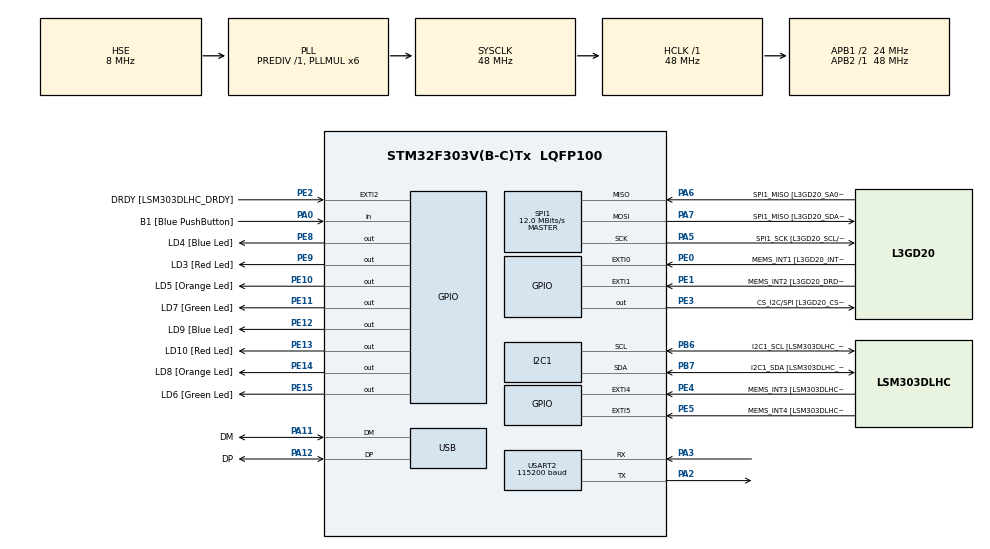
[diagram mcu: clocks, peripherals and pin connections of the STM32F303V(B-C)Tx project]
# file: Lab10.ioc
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I2C1.Timing=0x2000090E
I2C1.Timing-I2C=0x2000090E
Mcu.Family=STM32F3
Mcu.Name=STM32F303V(B-C)Tx
Mcu.Package=LQFP100
NVIC.PriorityGroup=NVIC_PRIORITYGROUP_0
NVIC.USART2_IRQn=true\:0\:0\:false\:false\:true\:true\:true\:true
PA0.GPIO_Label=B1 [Blue PushButton]
PA0.Signal=GPIO_Input
PA11.GPIO_Label=DM
PA11.Mode=Device
PA11.Signal=USB_DM
PA12.GPIO_Label=DP
PA12.Mode=Device
PA12.Signal=USB_DP
PA13.GPIO_Label=SWDIO
PA13.Mode=Serial_Wire
PA13.Signal=SYS_JTMS-SWDIO
PA14.GPIO_Label=SWCLK
PA14.Mode=Serial_Wire
PA14.Signal=SYS_JTCK-SWCLK
PA2.Mode=Asynchronous
PA2.Signal=USART2_TX
PA3.Mode=Asynchronous
PA3.Signal=USART2_RX
PA5.GPIO_Label=SPI1_SCK [L3GD20_SCL/SPC]
PA5.Mode=Full_Duplex_Master
PA5.Signal=SPI1_SCK
PA6.GPIO_Label=SPI1_MISO [L3GD20_SA0/SDO]
PA6.Mode=Full_Duplex_Master
PA6.Signal=SPI1_MISO
PA7.GPIO_Label=SPI1_MISO [L3GD20_SDA/SDI/SDO]
PA7.Mode=Full_Duplex_Master
PA7.Signal=SPI1_MOSI
PB3.GPIO_Label=SWO
PB3.Signal=SYS_JTDO-TRACESWO
PB6.GPIO_Label=I2C1_SCL [LSM303DLHC_SCL]
PB6.GPIO_Pu=GPIO_PULLUP
PB6.Mode=I2C
PB6.Signal=I2C1_SCL
PB7.GPIO_Label=I2C1_SDA [LSM303DLHC_SDA]
PB7.GPIO_Pu=GPIO_PULLUP
PB7.Mode=I2C
PB7.Signal=I2C1_SDA
PC14-OSC32_IN.GPIO_Label=OSC32_IN
PC14-OSC32_IN.Signal=RCC_OSC32_IN
PC15-OSC32_OUT.GPIO_Label=OSC32_OUT
PC15-OSC32_OUT.Signal=RCC_OSC32_OUT
PE0.GPIO_Label=MEMS_INT1 [L3GD20_INT1]
PE0.GPIO_ModeDefaultEXTI=GPIO_MODE_EVT_RISING
PE0.Signal=GPXTI0
PE1.GPIO_Label=MEMS_INT2 [L3GD20_DRDY/INT2]
PE1.GPIO_ModeDefaultEXTI=GPIO_MODE_EVT_RISING
PE1.Signal=GPXTI1
PE10.GPIO_Label=LD5 [Orange Led]
PE10.Signal=GPIO_Output
PE11.GPIO_Label=LD7 [Green Led]
PE11.Signal=GPIO_Output
PE12.GPIO_Label=LD9 [Blue Led]
PE12.Signal=GPIO_Output
PE13.GPIO_Label=LD10 [Red Led]
PE13.Signal=GPIO_Output
PE14.GPIO_Label=LD8 [Orange Led]
PE14.Signal=GPIO_Output
PE15.GPIO_Label=LD6 [Green Led]
PE15.Signal=GPIO_Output
PE2.GPIO_Label=DRDY [LSM303DLHC_DRDY]
PE2.GPIO_ModeDefaultEXTI=GPIO_MODE_EVT_RISING
PE2.Signal=GPXTI2
PE3.GPIO_Label=CS_I2C/SPI [L3GD20_CS_I2C/SPI]
PE3.Signal=GPIO_Output
PE4.GPIO_Label=MEMS_INT3 [LSM303DLHC_INT1]
PE4.GPIO_ModeDefaultEXTI=GPIO_MODE_EVT_RISING
PE4.Signal=GPXTI4
PE5.GPIO_Label=MEMS_INT4 [LSM303DLHC_INT2]
PE5.GPIO_ModeDefaultEXTI=GPIO_MODE_EVT_RISING
PE5.Signal=GPXTI5
PE8.GPIO_Label=LD4 [Blue Led]
PE8.Signal=GPIO_Output
PE9.GPIO_Label=LD3 [Red Led]
PE9.Signal=GPIO_Output
PF0-OSC_IN.GPIO_Label=OSC_IN
PF0-OSC_IN.Mode=HSE-External-Clock-Source
PF0-OSC_IN.Signal=RCC_OSC_IN
PF1-OSC_OUT.GPIO_Label=OSC_OUT
PF1-OSC_OUT.Signal=RCC_OSC_OUT
ProjectManager.HeapSize=0x200
ProjectManager.StackSize=0x400
ProjectManager.TargetToolchain=CMake
RCC.AHBFreq_Value=48000000
RCC.APB1CLKDivider=RCC_HCLK_DIV2
RCC.APB1Freq_Value=24000000
RCC.APB1TimFreq_Value=48000000
RCC.APB2Freq_Value=48000000
RCC.APB2TimFreq_Value=48000000
RCC.CortexFreq_Value=48000000
RCC.HCLKFreq_Value=48000000
RCC.HSE_VALUE=8000000
RCC.HSI_VALUE=8000000
RCC.LSE_VALUE=32768
RCC.PLLMUL=RCC_PLL_MUL6
RCC.SYSCLKFreq_VALUE=48000000
RCC.SYSCLKSourceVirtual=RCC_SYSCLKSOURCE_PLLCLK
RCC.USBFreq_Value=48000000
SPI1.BaudRatePrescaler=SPI_BAUDRATEPRESCALER_4
SPI1.BaudRatePrescaler-Full_Duplex_Master=SPI_BAUDRATEPRESCALER_2
SPI1.CalculateBaudRate=12.0 MBits/s
SPI1.CalculateBaudRate-Full_Duplex_Master=24.0 MBits/s
SPI1.Direction=SPI_DIRECTION_2LINES
SPI1.Mode=SPI_MODE_MASTER
SPI1.Mode-Full_Duplex_Master=SPI_MODE_MASTER
SPI1.VirtualType=VM_MASTER
USART2.BaudRate=115200
USART2.VirtualMode-Asynchronous=VM_ASYNC
board=STM32F3DISCOVERY

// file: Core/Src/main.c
/* USER CODE BEGIN Header */
/**
  ******************************************************************************
  * @file           : main.c
  * @brief          : Lab 10 Task 1 — Dynamic Memory Allocation
  *                   Demonstrates malloc(), calloc(), and free() on STM32F3.
  *                   Results transmitted over USART2 at 115200 baud.
  ******************************************************************************
  */
/* USER CODE END Header */

#include "main.h"

/* USER CODE BEGIN Includes */
#include <stdio.h>
#include <string.h>
#include <stdlib.h>   /* malloc, calloc, free */
/* USER CODE END Includes */

/* USER CODE BEGIN PD */
#define N  10         /* Number of integer elements to allocate */
/* USER CODE END PD */

I2C_HandleTypeDef  hi2c1;
SPI_HandleTypeDef  hspi1;
UART_HandleTypeDef huart2;
PCD_HandleTypeDef  hpcd_USB_FS;

/* USER CODE BEGIN PV */
static char uart_buf[128];
/* USER CODE END PV */

void SystemClock_Config(void);
static void MX_GPIO_Init(void);
static void MX_I2C1_Init(void);
static void MX_SPI1_Init(void);
static void MX_USART2_UART_Init(void);
static void MX_USB_PCD_Init(void);

/* USER CODE BEGIN PFP */
/* Helper: send a string over UART */
static void uart_print(const char *s)
{
    HAL_UART_Transmit(&huart2, (uint8_t *)s, (uint16_t)strlen(s), HAL_MAX_DELAY);
}
/* USER CODE END PFP */

int main(void)
{

    HAL_Init();
    SystemClock_Config();

    MX_GPIO_Init();
    MX_I2C1_Init();
    MX_SPI1_Init();
    MX_USART2_UART_Init();
    MX_USB_PCD_Init();

    /* USER CODE BEGIN 2 */

    HAL_Delay(100);   /* Let UART settle */

    uart_print("=== Lab 10 Task 1: Dynamic Memory Allocation ===\r\n\r\n");

    /* ════════════════════════════════════════════════════════════════════════
     * STEP 1 — malloc()
     *   Allocate an array of N ints. Memory is UNINITIALIZED (garbage values).
     *   I═══════nitialize each element to i * 2.
     * ═════════════════════════════════════════════════════════════════ */
    uart_print("--- malloc() ---\r\n");

    int *arr_malloc = (int *)malloc(N * sizeof(int));

    if (arr_malloc == NULL)
    {
        uart_print("ERROR: malloc() failed — not enough heap space!\r\n");
    }
    else
    {
        uart_print("malloc() succeeded.\r\n");

        /* Initialize: element i = i * 2 */
        for (int i = 0; i < N; i++)
        {
            arr_malloc[i] = i * 2;
        }

        /* Print contents */
        uart_print("malloc array (i*2): ");
        for (int i = 0; i < N; i++)
        {
            int len = snprintf(uart_buf, sizeof(uart_buf),
                               "%d%s", arr_malloc[i], (i < N - 1) ? ", " : "\r\n");
            HAL_UART_Transmit(&huart2, (uint8_t *)uart_buf, (uint16_t)len, HAL_MAX_DELAY);
        }
    }

    /* ════════════════════════════════════════════════════════════════════════
     * STEP 2 — calloc()
     *   Allocate an array of N ints. Memory IS zero-initialized by calloc().
     *   Confirm all elements are zero, then assign i + 1 to each.
     * ════════════════════════════════════════════════════════════════════════ */
    uart_print("\r\n--- calloc() ---\r\n");

    int *arr_calloc = (int *)calloc(N, sizeof(int));

    if (arr_calloc == NULL)
    {
        uart_print("ERROR: calloc() failed — not enough heap space!\r\n");
    }
    else
    {
        uart_print("calloc() succeeded.\r\n");

        /* Confirm all elements are zero before assignment */
        uart_print("calloc array before init (should all be 0): ");
        for (int i = 0; i < N; i++)
        {
            int len = snprintf(uart_buf, sizeof(uart_buf),
                               "%d%s", arr_calloc[i], (i < N - 1) ? ", " : "\r\n");
            HAL_UART_Transmit(&huart2, (uint8_t *)uart_buf, (uint16_t)len, HAL_MAX_DELAY);
        }

        /* Assign: element i = i + 1 */
        for (int i = 0; i < N; i++)
        {
            arr_calloc[i] = i + 1;
        }

        /* Print contents after assignment */
        uart_print("calloc array after init (i+1): ");
        for (int i = 0; i < N; i++)
        {
            int len = snprintf(uart_buf, sizeof(uart_buf),
                               "%d%s", arr_calloc[i], (i < N - 1) ? ", " : "\r\n");
            HAL_UART_Transmit(&huart2, (uint8_t *)uart_buf, (uint16_t)len, HAL_MAX_DELAY);
        }
    }

    /* ════════════════════════════════════════════════════════════════════════
     * STEP 3 — free() both arrays
     *   Release heap memory and set pointers to NULL to prevent dangling refs.
     * ════════════════════════════════════════════════════════════════════════ */
    uart_print("\r\n--- free() ---\r\n");

    free(arr_malloc);
    arr_malloc = NULL;
    uart_print("arr_malloc freed and set to NULL.\r\n");

    free(arr_calloc);
    arr_calloc = NULL;
    uart_print("arr_calloc freed and set to NULL.\r\n");

    uart_print("\r\nMemory successfully freed. Pointers cleared.\r\n");
    uart_print("=== Task 1 Complete ===\r\n");

    /* USER CODE END 2 */

    /* USER CODE BEGIN WHILE */
    while (1)
    {
        /* Task 1 complete — nothing to do in the loop */
        /* USER CODE END WHILE */
    }
}

void SystemClock_Config(void)
{
    RCC_OscInitTypeDef       RCC_OscInitStruct = {0};
    RCC_ClkInitTypeDef       RCC_ClkInitStruct = {0};
    RCC_PeriphCLKInitTypeDef PeriphClkInit     = {0};

    RCC_OscInitStruct.OscillatorType      = RCC_OSCILLATORTYPE_HSI | RCC_OSCILLATORTYPE_HSE;
    RCC_OscInitStruct.HSEState            = RCC_HSE_BYPASS;
    RCC_OscInitStruct.HSEPredivValue      = RCC_HSE_PREDIV_DIV1;
    RCC_OscInitStruct.HSIState            = RCC_HSI_ON;
    RCC_OscInitStruct.HSICalibrationValue = RCC_HSICALIBRATION_DEFAULT;
    RCC_OscInitStruct.PLL.PLLState        = RCC_PLL_ON;
    RCC_OscInitStruct.PLL.PLLSource       = RCC_PLLSOURCE_HSE;
    RCC_OscInitStruct.PLL.PLLMUL          = RCC_PLL_MUL6;
    if (HAL_RCC_OscConfig(&RCC_OscInitStruct) != HAL_OK) Error_Handler();

    RCC_ClkInitStruct.ClockType      = RCC_CLOCKTYPE_HCLK | RCC_CLOCKTYPE_SYSCLK
                                     | RCC_CLOCKTYPE_PCLK1 | RCC_CLOCKTYPE_PCLK2;
    RCC_ClkInitStruct.SYSCLKSource   = RCC_SYSCLKSOURCE_PLLCLK;
    RCC_ClkInitStruct.AHBCLKDivider  = RCC_SYSCLK_DIV1;
    RCC_ClkInitStruct.APB1CLKDivider = RCC_HCLK_DIV2;
    RCC_ClkInitStruct.APB2CLKDivider = RCC_HCLK_DIV1;
    if (HAL_RCC_ClockConfig(&RCC_ClkInitStruct, FLASH_LATENCY_1) != HAL_OK) Error_Handler();

    PeriphClkInit.PeriphClockSelection = RCC_PERIPHCLK_USB | RCC_PERIPHCLK_USART2
                                       | RCC_PERIPHCLK_I2C1;
    PeriphClkInit.Usart2ClockSelection = RCC_USART2CLKSOURCE_PCLK1;
    PeriphClkInit.I2c1ClockSelection   = RCC_I2C1CLKSOURCE_HSI;
    PeriphClkInit.USBClockSelection    = RCC_USBCLKSOURCE_PLL;
    if (HAL_RCCEx_PeriphCLKConfig(&PeriphClkInit) != HAL_OK) Error_Handler();
}

static void MX_I2C1_Init(void)
{
    hi2c1.Instance              = I2C1;
    hi2c1.Init.Timing           = 0x2000090E;
    hi2c1.Init.OwnAddress1      = 0;
    hi2c1.Init.AddressingMode   = I2C_ADDRESSINGMODE_7BIT;
    hi2c1.Init.DualAddressMode  = I2C_DUALADDRESS_DISABLE;
    hi2c1.Init.OwnAddress2      = 0;
    hi2c1.Init.OwnAddress2Masks = I2C_OA2_NOMASK;
    hi2c1.Init.GeneralCallMode  = I2C_GENERALCALL_DISABLE;
    hi2c1.Init.NoStretchMode    = I2C_NOSTRETCH_DISABLE;
    if (HAL_I2C_Init(&hi2c1) != HAL_OK) Error_Handler();
    if (HAL_I2CEx_ConfigAnalogFilter(&hi2c1, I2C_ANALOGFILTER_ENABLE) != HAL_OK) Error_Handler();
    if (HAL_I2CEx_ConfigDigitalFilter(&hi2c1, 0) != HAL_OK) Error_Handler();
}

static void MX_SPI1_Init(void)
{
    hspi1.Instance               = SPI1;
    hspi1.Init.Mode              = SPI_MODE_MASTER;
    hspi1.Init.Direction         = SPI_DIRECTION_2LINES;
    hspi1.Init.DataSize          = SPI_DATASIZE_4BIT;
    hspi1.Init.CLKPolarity       = SPI_POLARITY_LOW;
    hspi1.Init.CLKPhase          = SPI_PHASE_1EDGE;
    hspi1.Init.NSS               = SPI_NSS_SOFT;
    hspi1.Init.BaudRatePrescaler = SPI_BAUDRATEPRESCALER_4;
    hspi1.Init.FirstBit          = SPI_FIRSTBIT_MSB;
    hspi1.Init.TIMode            = SPI_TIMODE_DISABLE;
    hspi1.Init.CRCCalculation    = SPI_CRCCALCULATION_DISABLE;
    hspi1.Init.CRCPolynomial     = 7;
    hspi1.Init.CRCLength         = SPI_CRC_LENGTH_DATASIZE;
    hspi1.Init.NSSPMode          = SPI_NSS_PULSE_ENABLE;
    if (HAL_SPI_Init(&hspi1) != HAL_OK) Error_Handler();
}

static void MX_USART2_UART_Init(void)
{
    huart2.Instance            = USART2;
    huart2.Init.BaudRate       = 115200;
    huart2.Init.WordLength     = UART_WORDLENGTH_8B;
    huart2.Init.StopBits       = UART_STOPBITS_1;
    huart2.Init.Parity         = UART_PARITY_NONE;
    huart2.Init.Mode           = UART_MODE_TX_RX;
    huart2.Init.HwFlowCtl      = UART_HWCONTROL_NONE;
    huart2.Init.OverSampling   = UART_OVERSAMPLING_16;
    huart2.Init.OneBitSampling = UART_ONE_BIT_SAMPLE_DISABLE;
    huart2.AdvancedInit.AdvFeatureInit = UART_ADVFEATURE_NO_INIT;
    if (HAL_UART_Init(&huart2) != HAL_OK) Error_Handler();
}

static void MX_USB_PCD_Init(void)
{
    hpcd_USB_FS.Instance                     = USB;
    hpcd_USB_FS.Init.dev_endpoints           = 8;
    hpcd_USB_FS.Init.speed                   = PCD_SPEED_FULL;
    hpcd_USB_FS.Init.phy_itface              = PCD_PHY_EMBEDDED;
    hpcd_USB_FS.Init.low_power_enable        = DISABLE;
    hpcd_USB_FS.Init.battery_charging_enable = DISABLE;
    if (HAL_PCD_Init(&hpcd_USB_FS) != HAL_OK) Error_Handler();
}

static void MX_GPIO_Init(void)
{
    GPIO_InitTypeDef GPIO_InitStruct = {0};

    __HAL_RCC_GPIOE_CLK_ENABLE();
    __HAL_RCC_GPIOC_CLK_ENABLE();
    __HAL_RCC_GPIOF_CLK_ENABLE();
    __HAL_RCC_GPIOA_CLK_ENABLE();
    __HAL_RCC_GPIOB_CLK_ENABLE();

    HAL_GPIO_WritePin(GPIOE, CS_I2C_SPI_Pin | LD4_Pin | LD3_Pin | LD5_Pin
                           | LD7_Pin | LD9_Pin | LD10_Pin | LD8_Pin
                           | LD6_Pin, GPIO_PIN_RESET);

    GPIO_InitStruct.Pin  = DRDY_Pin | MEMS_INT3_Pin | MEMS_INT4_Pin
                         | MEMS_INT1_Pin | MEMS_INT2_Pin;
    GPIO_InitStruct.Mode = GPIO_MODE_EVT_RISING;
    GPIO_InitStruct.Pull = GPIO_NOPULL;
    HAL_GPIO_Init(GPIOE, &GPIO_InitStruct);

    GPIO_InitStruct.Pin   = CS_I2C_SPI_Pin | LD4_Pin | LD3_Pin | LD5_Pin
                          | LD7_Pin | LD9_Pin | LD10_Pin | LD8_Pin | LD6_Pin;
    GPIO_InitStruct.Mode  = GPIO_MODE_OUTPUT_PP;
    GPIO_InitStruct.Pull  = GPIO_NOPULL;
    GPIO_InitStruct.Speed = GPIO_SPEED_FREQ_LOW;
    HAL_GPIO_Init(GPIOE, &GPIO_InitStruct);

    GPIO_InitStruct.Pin  = B1_Pin;
    GPIO_InitStruct.Mode = GPIO_MODE_INPUT;
    GPIO_InitStruct.Pull = GPIO_NOPULL;
    HAL_GPIO_Init(B1_GPIO_Port, &GPIO_InitStruct);
}

void Error_Handler(void)
{
    __disable_irq();
    while (1) {}
}
